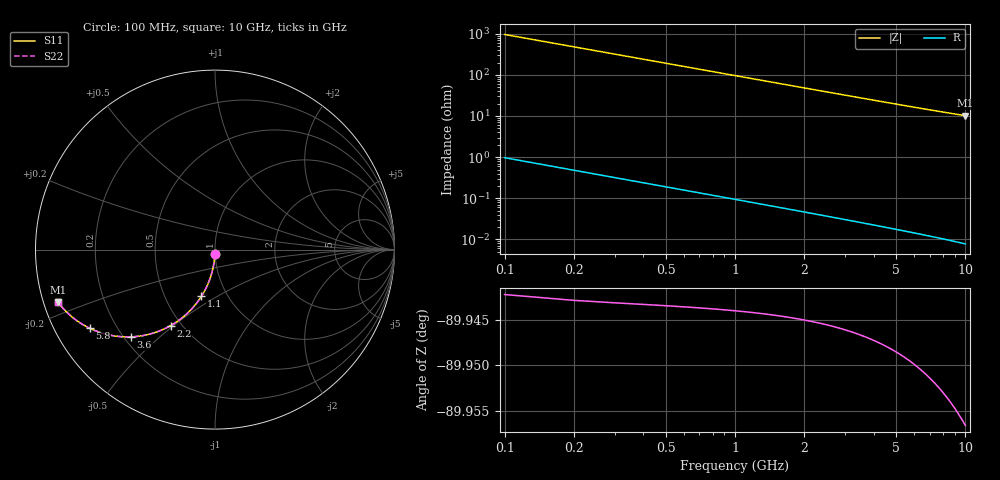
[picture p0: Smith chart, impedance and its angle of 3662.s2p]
# Hz S RI R 50.00
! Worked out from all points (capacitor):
!   100 points, 100 MHz to 10 GHz, reference 50 ohm
!   read as one part in shunt: C = 1.65 pF near 100 MHz
!   lowest |Z| = 10.2 ohm at 10 GHz (marker M1)
!   S11 on the Smith chart (normalised r, x): 100 MHz: 1.00, -0.05; 1.1 GHz: 0.76, -0.43; 2.2 GHz: 0.44, -0.49; 3.6 GHz: 0.23, -0.41; 5.8 GHz: 0.10, -0.28; 10 GHz: 0.04, -0.16
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1e8  -0.000618 -0.0256  0.9992 -0.0263  0.9992 -0.0263  -0.000618 -0.0256
2e8  -0.00266 -0.0511  0.9972 -0.0524  0.9972 -0.0524  -0.00266 -0.0511
3e8  -0.00602 -0.0764  0.9938 -0.0784  0.9938 -0.0784  -0.00602 -0.0764
4e8  -0.0107 -0.1014  0.9891 -0.1041  0.9891 -0.1041  -0.0107 -0.1014
5e8  -0.0166 -0.1259  0.9832 -0.1293  0.9832 -0.1293  -0.0166 -0.1259
6e8  -0.0237 -0.15  0.9761 -0.154  0.9761 -0.154  -0.0237 -0.15
7e8  -0.032 -0.1735  0.9678 -0.1782  0.9678 -0.1782  -0.032 -0.1735
9e8  -0.0519 -0.2184  0.9479 -0.2245  0.9479 -0.2245  -0.0519 -0.2184
1.1e9  -0.0756 -0.2603  0.9242 -0.2677  0.9242 -0.2677  -0.0756 -0.2603
1.4e9  -0.117 -0.3163  0.8828 -0.3257  0.8828 -0.3257  -0.117 -0.3163
1.8e9  -0.1797 -0.3774  0.8201 -0.3896  0.8201 -0.3896  -0.1797 -0.3774
2.2e9  -0.2467 -0.4232  0.753 -0.4381  0.753 -0.4381  -0.2467 -0.4232
2.8e9  -0.347 -0.466  0.6526 -0.4851  0.6526 -0.4851  -0.347 -0.466
3.4e9  -0.4399 -0.4843  0.5597 -0.5075  0.5597 -0.5075  -0.4399 -0.4843
3.6e9  -0.4684 -0.4862  0.5311 -0.5108  0.5311 -0.5108  -0.4684 -0.4862
4.3e9  -0.5577 -0.4813  0.4417 -0.5109  0.4417 -0.5109  -0.5577 -0.4813
5.1e9  -0.6404 -0.4616  0.3588 -0.4968  0.3588 -0.4968  -0.6404 -0.4616
5.8e9  -0.6982 -0.4382  0.3008 -0.4784  0.3008 -0.4784  -0.6982 -0.4382
6.7e9  -0.7564 -0.4049  0.2423 -0.4518  0.2423 -0.4518  -0.7564 -0.4049
7.5e9  -0.7964 -0.3752  0.202 -0.4279  0.202 -0.4279  -0.7964 -0.3752
8.4e9  -0.8316 -0.343  0.1664 -0.4025  0.1664 -0.4025  -0.8316 -0.343
1e10  -0.8763 -0.291  0.1209 -0.363  0.1209 -0.363  -0.8763 -0.291
